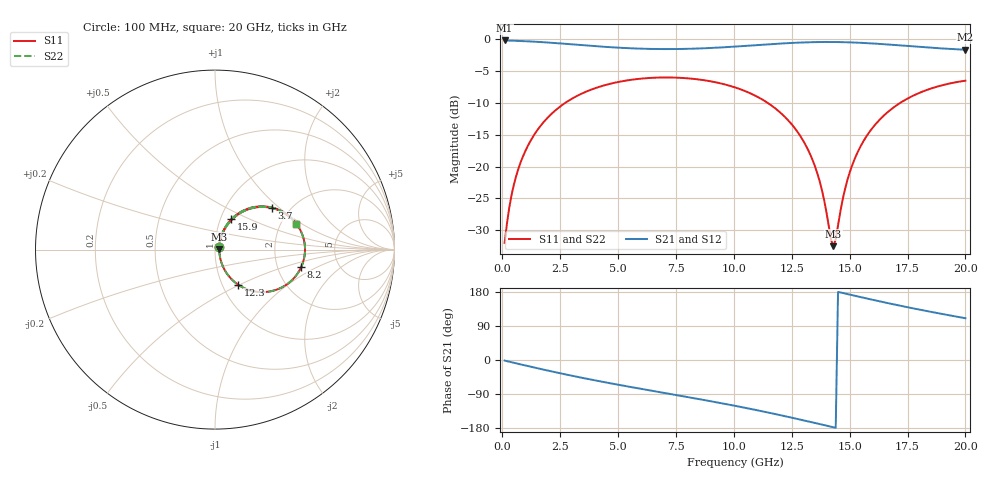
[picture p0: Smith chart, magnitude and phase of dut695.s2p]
! Touchstone file exported from HFSS 2026.1.0
!  File:  C:/ffzhzh/LocalFiles/Ansys_Project_Files/temp_train_TSV_RDL_695_1783135941_50312.aedt
!  Generated:  11:41:04 AM Jul  4, 2026
!  Design:  TSV_RDL
!  Project:  temp_train_TSV_RDL_695_1783135941_50312
! Variables:
!  h_bsmrdl = 5.13um
!  h_ox = 20um
!  h_rdl = 5um
!  h_sub = 77.5um
!  h_tmrdl = 2.89um
!  h_tsv = 77.5um
!  h_via = 3um
!  l_bsmrdl = 455.72um
!  l_sub = 4107.67um
!  l_tmrdl = 558.87um
!  m_sub = 200um
!  pitch = 43.56um
!  r_tsv = 10.51um
!  s_tmrdl = 10um
!  w_bsmrdl = 13.39um
!  w_sub = 500um
!  w_tmrdl = 21.62um
!  x_tsv_center1 = 569.68um
!  x_tsv_center2 = 1038.79um
!  x_tsv_center3 = 1619.28um
!  x_tsv_center4 = 2088.39um
!  x_tsv_center5 = 2668.88um
!  x_tsv_center6 = 3137.99um
# GHz S MA R 50.000000
! Terminal data exported
! Port[1] = TM_RDL1_1_T1
! Port[2] = TM_RDL5_1_T1
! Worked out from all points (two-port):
!   200 points, 100 MHz to 20 GHz, reference 50 ohm
!   highest |S21| = -0.18 dB at 100 MHz (marker M1); lowest = -1.6 dB at 20 GHz (marker M2)
!   |S21| within 3 dB of the highest: start of sweep to end of sweep
!   lowest |S11| = -32.5 dB at 14.3 GHz (marker M3), VSWR 1.05, Z = 52.4 + j0.0645 ohm
!   |S11| at or under -10 dB: start of sweep to 2.714 GHz; 11.47 GHz to 17.18 GHz (5.714 GHz wide, 39.9 % of centre)
!   |S22| runs from -32.6 to -6.0 dB; largest |S21 - S12| = 1.6e-14
!   S11 on the Smith chart (normalised r, x): 100 MHz: 1.04, +0.03; 3.7 GHz: 1.63, +0.89; 8.2 GHz: 2.72, -0.70; 12.3 GHz: 1.19, -0.49; 15.9 GHz: 1.13, +0.40; 20 GHz: 2.40, +0.90
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0.1  0.02524 33.2  0.9792 -1.5  0.9792 -1.5  0.02524 33.2
! Gamma 0 0 0 0
! Port Impedance 50 0 50 0
0.3  0.04754 57.6  0.9769 -4.5  0.9769 -4.5  0.04754 57.6
0.5  0.0722 63.4  0.974 -7.4  0.974 -7.4  0.0722 63.4
1.1  0.1452 63.9  0.9641 -15.9  0.9641 -15.9  0.1452 63.9
2.1  0.2572 54.3  0.9398 -29.7  0.9398 -29.7  0.2572 54.3
3.5  0.3795 38.3  0.8978 -47.7  0.8978 -47.7  0.3796 38.3
3.7  0.3934 36.1  0.892 -50.1  0.892 -50.1  0.3934 36.1
6.8  0.5009 3.0  0.8382 -84.8  0.8382 -84.8  0.5009 3.0
8.2  0.4902 -11.4  0.8435 -99.9  0.8435 -99.9  0.4902 -11.4
10.1  0.4162 -31.8  0.8776 -121.5  0.8776 -121.5  0.4162 -31.8
12.3  0.236 -56.4  0.9322 -149.5  0.9322 -149.5  0.236 -56.5
13.4  0.1127 -64.9  0.9495 -164.7  0.9495 -164.7  0.1127 -65.0
13.8  0.06591 -61.4  0.9521 -170.4  0.9521 -170.4  0.06591 -61.6
14.2  0.02661 -24.9  0.9524 -176.0  0.9524 -176.0  0.02648 -25.2
14.3  0.02374 1.5  0.9521 -177.5  0.9521 -177.5  0.02356 1.3
14.4  0.02696 27.5  0.9517 -178.9  0.9517 -178.9  0.02677 27.5
14.7  0.05517 59.6  0.9496 176.9  0.9496 176.9  0.05504 59.7
15  0.08956 65.5  0.9462 172.6  0.9462 172.6  0.08944 65.7
15.9  0.1919 61.7  0.9296 160.1  0.9296 160.1  0.1918 61.8
16.7  0.2733 53.5  0.9091 149.5  0.9091 149.5  0.2732 53.5
18.2  0.3917 36.9  0.8669 130.7  0.8669 130.7  0.3917 36.9
20  0.4729 17.9  0.8287 110.2  0.8287 110.2  0.4729 17.9
